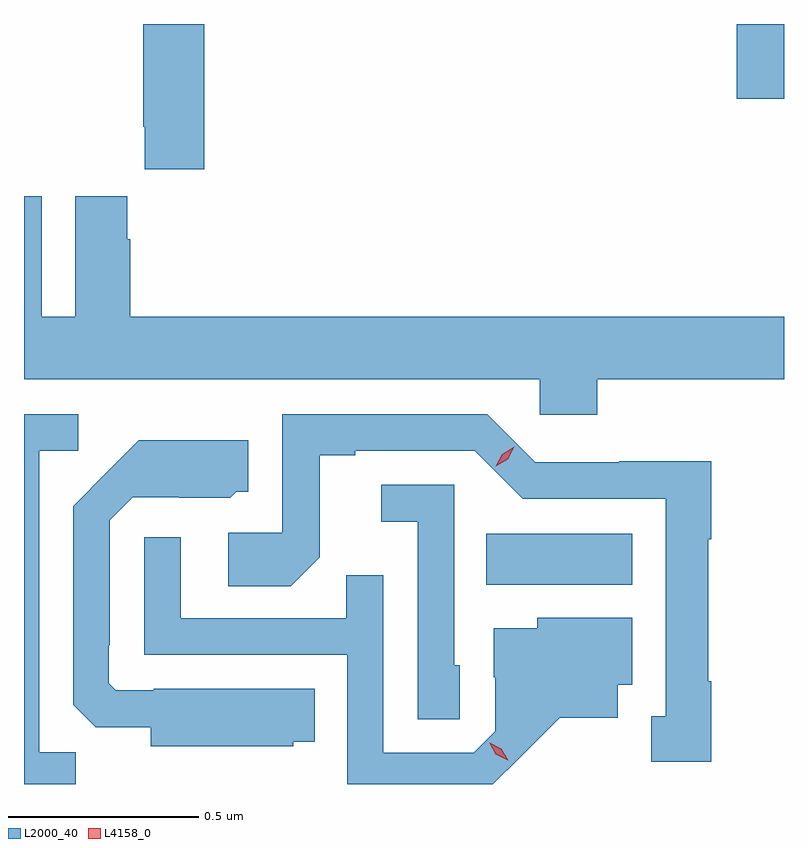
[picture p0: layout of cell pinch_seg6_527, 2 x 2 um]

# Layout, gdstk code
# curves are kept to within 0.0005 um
import gdstk
lib = gdstk.Library(unit=1e-6, precision=1e-09)
def R(c, l, rs):  # rectangles x0, y0, x1, y1
    for r in rs: c.add(gdstk.rectangle(r[:2], r[2:], *l))
def P(c, l, *ps):  # polygons
    for p in ps: c.add(gdstk.Polygon(p, *l))
L2000_40 = (2000, 40)
L4158_0 = (4158, 0)

pinch_seg6_527 = lib.new_cell('pinch_seg6_527')
R(pinch_seg6_527, L2000_40, [(773.176,949.46,773.56,949.594), (773.834,950.738,773.959,950.935)])
P(pinch_seg6_527, L2000_40, [(772.433,950.935),(772.273,950.935),(772.273,950.665),(772.277,950.665),(772.277,950.553),(772.433,950.553)],
  [(773.468,950),(773.959,950),(773.959,950.164),(772.238,950.164),(772.238,950.369),(772.231,950.369),(772.231,950.482),(772.094,950.482),(772.094,950.164),(772.006,950.164),(772.006,950.482),(771.959,950.482),(771.959,950),(773.316,950),(773.316,949.907),(773.468,949.907)],
  [(773.767,949.205),(773.759,949.205),(773.759,949.579),(773.767,949.579),(773.767,949.784),(773.526,949.784),(773.526,949.782),(773.304,949.782),(773.178,949.908),(772.638,949.908),(772.638,949.596),(772.497,949.596),(772.497,949.456),(772.661,949.456),(772.737,949.532),(772.737,949.8),(772.831,949.8),(772.831,949.812),(773.145,949.812),(773.271,949.686),(773.648,949.686),(773.648,949.113),(773.609,949.113),(773.609,948.993),(773.767,948.993)],
  [(772.095,949.019),(771.999,949.019),(771.999,949.812),(772.102,949.812),(772.102,949.908),(771.959,949.908),(771.959,948.935),(772.095,948.935)],
  [(772.668,949.046),(772.724,949.046),(772.724,949.186),(772.3,949.186),(772.3,949.182),(772.2,949.182),(772.182,949.2),(772.182,949.3),(772.185,949.3),(772.185,949.629),(772.245,949.689),(772.368,949.689),(772.368,949.688),(772.502,949.688),(772.518,949.704),(772.549,949.704),(772.549,949.84),(772.261,949.84),(772.089,949.666),(772.089,949.144),(772.148,949.085),(772.292,949.085),(772.292,949.034),(772.668,949.034)],
  [(773.106,949.248),(773.091,949.248),(773.091,949.722),(772.899,949.722),(772.899,949.625),(772.995,949.625),(772.995,949.105),(773.106,949.105)],
  [(773.266,949.007),(773.369,949.109),(773.521,949.109),(773.521,949.196),(773.56,949.196),(773.56,949.372),(773.31,949.372),(773.31,949.345),(773.195,949.345),(773.195,949.216),(773.199,949.216),(773.199,949.074),(773.142,949.017),(772.905,949.017),(772.905,949.484),(772.807,949.484),(772.807,949.371),(772.371,949.371),(772.371,949.585),(772.275,949.585),(772.275,949.275),(772.809,949.275),(772.809,948.935),(773.193,948.935)])
P(pinch_seg6_527, L4158_0, [(773.2,949.771),(773.2,949.771),(773.217,949.803),(773.249,949.822),(773.249,949.822),(773.249,949.822),(773.232,949.789),(773.2,949.771)],
  [(773.232,948.998),(773.201,949.013),(773.184,949.042),(773.184,949.043),(773.184,949.043),(773.215,949.028),(773.233,948.998),(773.233,948.998)])

lib.write_gds('pinch_seg6_527.gds')
